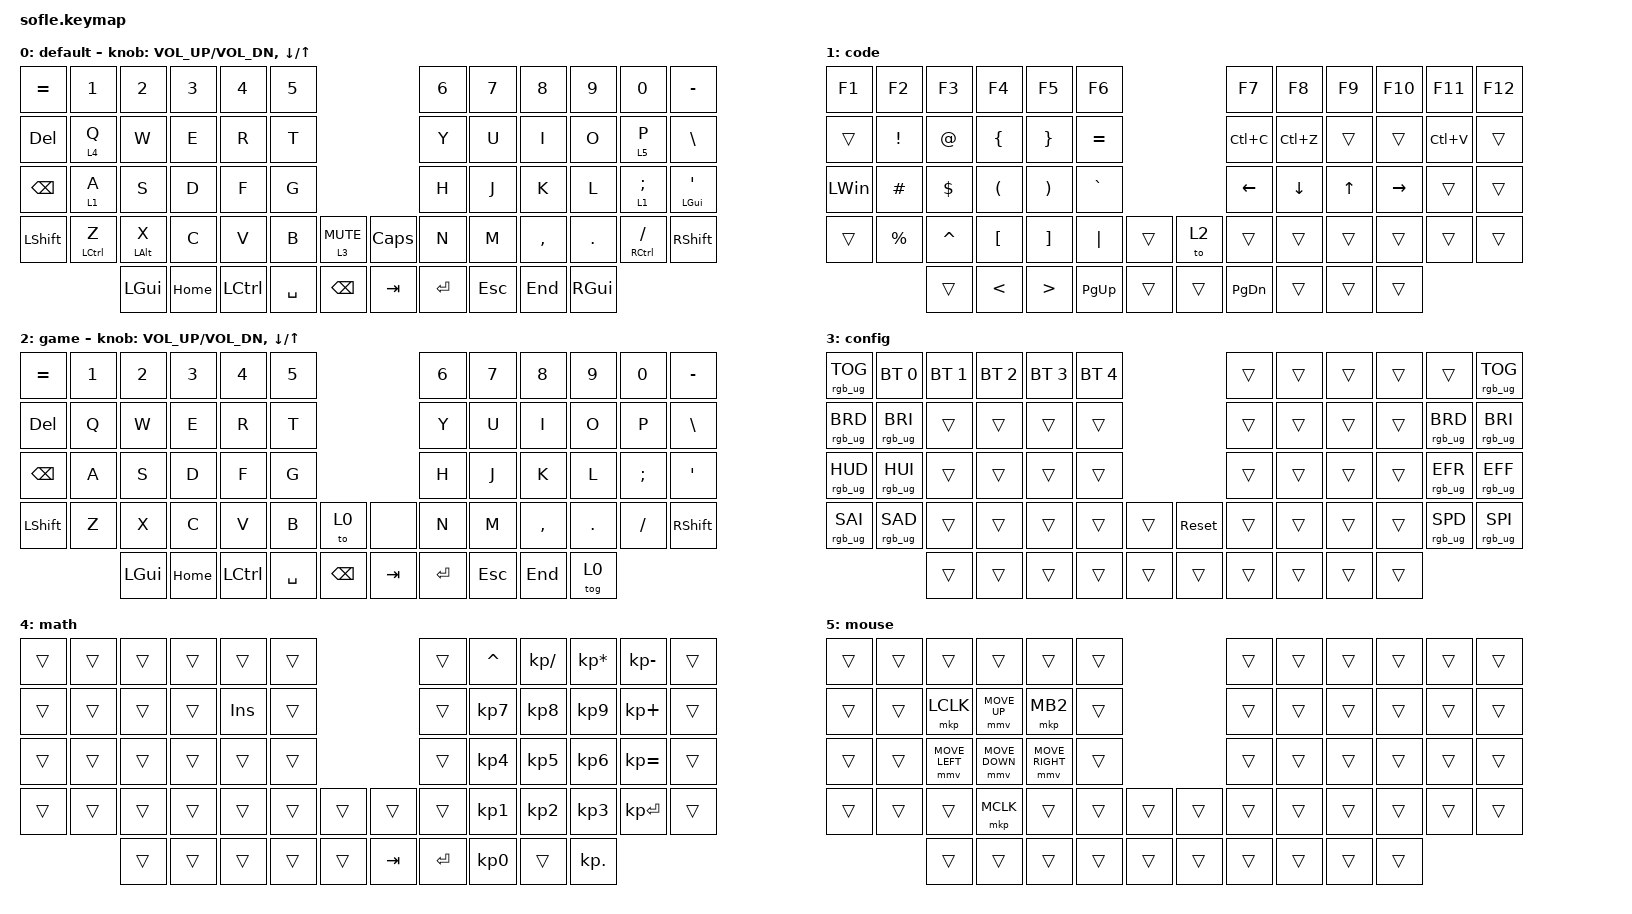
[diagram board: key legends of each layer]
/*
 * Copyright (c) 2020 The ZMK Contributors
 *
 * SPDX-License-Identifier: MIT
 */

#include <behaviors.dtsi>
#include <dt-bindings/zmk/bt.h>
#include <dt-bindings/zmk/keys.h>
#include <dt-bindings/zmk/pointing.h>
#include <dt-bindings/zmk/rgb.h>

#define BASE 0
#define LOWER 1
#define RAISE 2
#define ADJUST 3

&lt {
    tapping-term-ms = <200>;
    flavor = "tap-preferred";
};

&mt { flavor = "tap-preferred"; };

/ {
    // Activate ADJUST layer by pressing raise and lower

    conditional_layers { compatible = "zmk,conditional-layers"; };

    combos {
        compatible = "zmk,combos";

        soft-off {
            bindings = <&soft_off>;
            key-positions = <0 11>;
        };
    };

    keymap {
        compatible = "zmk,keymap";

        default {
            display-name = "default";
            bindings = <
&kp EQUAL      &kp N1       &kp N2          &kp N3    &kp N4     &kp N5                                &kp N6     &kp N7      &kp N8     &kp N9      &kp N0           &kp MINUS
&kp DEL        &lt 4 Q      &kp W           &kp E     &kp R      &kp T                                 &kp Y      &kp U       &kp I      &kp O       &lt 5 P          &kp BACKSLASH
&kp BACKSPACE  &lt 1 A      &kp S           &kp D     &kp F      &kp G                                 &kp H      &kp J       &kp K      &kp L       &lt 1 SEMICOLON  &mt LGUI SQT
&kp LSHFT      &mt LCTRL Z  &mt LEFT_ALT X  &kp C     &kp V      &kp B      &lt 3 C_MUTE     &kp CAPS  &kp N      &kp M       &kp COMMA  &kp PERIOD  &mt RCTRL FSLH   &kp RSHIFT
                            &kp LGUI        &kp HOME  &kp LCTRL  &kp SPACE  &kp BACKSPACE    &kp TAB   &kp ENTER  &kp ESCAPE  &kp END    &kp RGUI
            >;

            sensor-bindings =
                <&inc_dec_kp C_VOL_UP C_VOL_DN>,
                <&inc_dec_kp DOWN UP>;
        };

        code {
            display-name = "code";
            bindings = <
&kp F1        &kp F2           &kp F3       &kp F4                &kp F5                 &kp F6                         &kp F7         &kp F8     &kp F9  &kp F10    &kp F11    &kp F12
&trans        &kp EXCLAMATION  &kp AT_SIGN  &kp LEFT_BRACE        &kp RIGHT_BRACE        &kp EQUAL                      &kp LC(C)      &kp LC(Z)  &trans  &trans     &kp LC(V)  &trans
&kp LEFT_WIN  &kp HASH         &kp DOLLAR   &kp LEFT_PARENTHESIS  &kp RIGHT_PARENTHESIS  &kp GRAVE                      &kp LEFT       &kp DOWN   &kp UP  &kp RIGHT  &trans     &trans
&trans        &kp PERCENT      &kp CARET    &kp LEFT_BRACKET      &kp RIGHT_BRACKET      &kp PIPE     &trans    &to 2   &trans         &trans     &trans  &trans     &trans     &trans
                               &trans       &kp LESS_THAN         &kp GREATER_THAN       &kp PAGE_UP  &trans    &trans  &kp PAGE_DOWN  &trans     &trans  &trans
            >;

            label = "code";
        };

        game {
            display-name = "game";
            bindings = <
&kp EQUAL      &kp N1  &kp N2    &kp N3    &kp N4     &kp N5                               &kp N6     &kp N7      &kp N8     &kp N9      &kp N0         &kp MINUS
&kp DEL        &kp Q   &kp W     &kp E     &kp R      &kp T                                &kp Y      &kp U       &kp I      &kp O       &kp P          &kp BACKSLASH
&kp BACKSPACE  &kp A   &kp S     &kp D     &kp F      &kp G                                &kp H      &kp J       &kp K      &kp L       &kp SEMICOLON  &kp SQT
&kp LSHFT      &kp Z   &kp X     &kp C     &kp V      &kp B      &to 0            &none    &kp N      &kp M       &kp COMMA  &kp PERIOD  &kp SLASH      &kp RSHIFT
                       &kp LGUI  &kp HOME  &kp LCTRL  &kp SPACE  &kp BACKSPACE    &kp TAB  &kp ENTER  &kp ESCAPE  &kp END    &tog 0
            >;

            sensor-bindings =
                <&inc_dec_kp C_VOL_UP C_VOL_DN>,
                <&inc_dec_kp DOWN UP>;
        };

        config {
            display-name = "config";
            bindings = <
&rgb_ug RGB_TOG  &bt BT_SEL 0     &bt BT_SEL 1  &bt BT_SEL 2  &bt BT_SEL 3  &bt BT_SEL 4                        &trans  &trans  &trans  &trans  &trans           &rgb_ug RGB_TOG
&rgb_ug RGB_BRD  &rgb_ug RGB_BRI  &trans        &trans        &trans        &trans                              &trans  &trans  &trans  &trans  &rgb_ug RGB_BRD  &rgb_ug RGB_BRI
&rgb_ug RGB_HUD  &rgb_ug RGB_HUI  &trans        &trans        &trans        &trans                              &trans  &trans  &trans  &trans  &rgb_ug RGB_EFR  &rgb_ug RGB_EFF
&rgb_ug RGB_SAI  &rgb_ug RGB_SAD  &trans        &trans        &trans        &trans        &trans    &sys_reset  &trans  &trans  &trans  &trans  &rgb_ug RGB_SPD  &rgb_ug RGB_SPI
                                  &trans        &trans        &trans        &trans        &trans    &trans      &trans  &trans  &trans  &trans
            >;

            label = "config";
        };

        math {
            display-name = "math";
            bindings = <
&trans  &trans  &trans  &trans  &trans   &trans                     &trans     &kp CARET  &kp KP_DIVIDE  &kp KP_MULTIPLY  &kp KP_SUBTRACT  &trans
&trans  &trans  &trans  &trans  &kp INS  &trans                     &trans     &kp KP_N7  &kp KP_N8      &kp KP_N9        &kp KP_PLUS      &trans
&trans  &trans  &trans  &trans  &trans   &trans                     &trans     &kp KP_N4  &kp KP_N5      &kp KP_N6        &kp KP_EQUAL     &trans
&trans  &trans  &trans  &trans  &trans   &trans  &trans    &trans   &trans     &kp KP_N1  &kp KP_N2      &kp KP_N3        &kp KP_ENTER     &trans
                &trans  &trans  &trans   &trans  &trans    &kp TAB  &kp ENTER  &kp KP_N0  &trans         &kp KP_DOT
            >;

            label = "math";
        };

        mouse {
            bindings = <
&trans  &trans  &trans          &trans          &trans           &trans                    &trans  &trans  &trans  &trans  &trans  &trans
&trans  &trans  &mkp LCLK       &mmv MOVE_UP    &mkp MB2         &trans                    &trans  &trans  &trans  &trans  &trans  &trans
&trans  &trans  &mmv MOVE_LEFT  &mmv MOVE_DOWN  &mmv MOVE_RIGHT  &trans                    &trans  &trans  &trans  &trans  &trans  &trans
&trans  &trans  &trans          &mkp MCLK       &trans           &trans  &trans    &trans  &trans  &trans  &trans  &trans  &trans  &trans
                &trans          &trans          &trans           &trans  &trans    &trans  &trans  &trans  &trans  &trans
            >;
        };
    };
};
